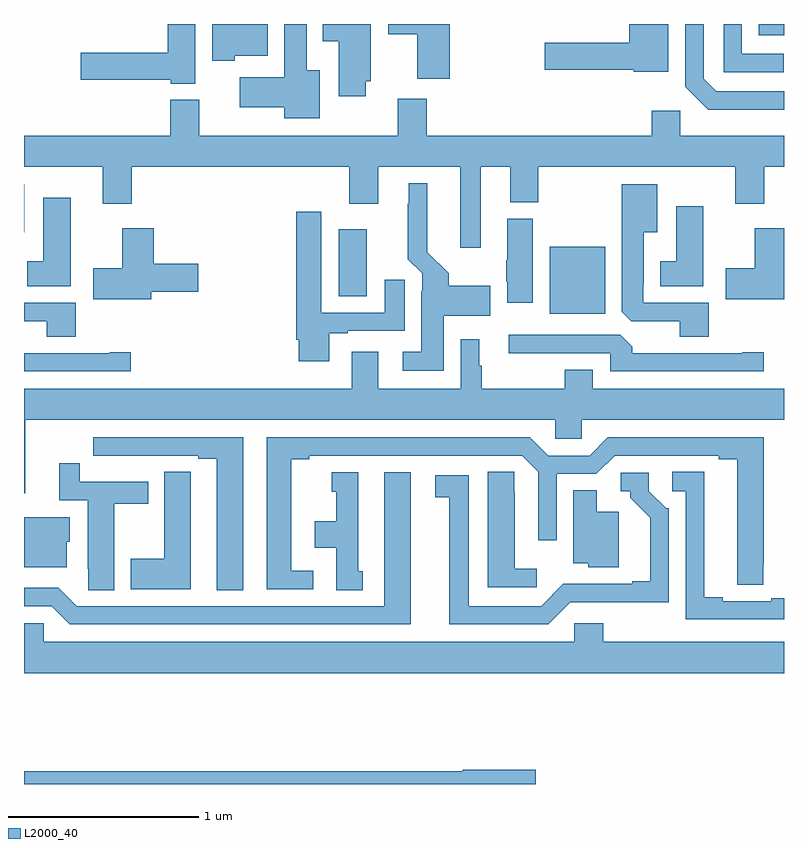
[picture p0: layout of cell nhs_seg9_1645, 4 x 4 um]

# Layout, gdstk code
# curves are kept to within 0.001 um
import gdstk
lib = gdstk.Library(unit=1e-6, precision=1e-09)
def R(c, l, rs):  # rectangles x0, y0, x1, y1
    for r in rs: c.add(gdstk.rectangle(r[:2], r[2:], *l))
def P(c, l, *ps):  # polygons
    for p in ps: c.add(gdstk.Polygon(p, *l))
L2000_40 = (2000, 40)

nhs_seg9_1645 = lib.new_cell('nhs_seg9_1645')
R(nhs_seg9_1645, L2000_40, [(205.766,1200.974,206.059,1201.327), (204.656,1201.066,204.805,1201.42), (203,1201.403,203.002,1201.657), (206.867,1202.441,207,1202.5)])
P(nhs_seg9_1645, L2000_40, [(204.556,1202.257),(204.487,1202.257),(204.487,1202.5),(204.371,1202.5),(204.371,1202.221),(204.135,1202.221),(204.135,1202.063),(204.371,1202.063),(204.371,1202.003),(204.556,1202.003)],
  [(203.902,1202.5),(203.756,1202.5),(203.756,1202.348),(203.298,1202.348),(203.298,1202.206),(203.772,1202.206),(203.772,1202.186),(203.902,1202.186)],
  [(204.108,1202.333),(204.283,1202.333),(204.283,1202.5),(203.99,1202.5),(203.99,1202.306),(204.108,1202.306)],
  [(207,1202.145),(206.643,1202.145),(206.577,1202.211),(206.577,1202.5),(206.481,1202.5),(206.481,1202.169),(206.602,1202.048),(207,1202.048)],
  [(206.998,1202.343),(206.778,1202.343),(206.778,1202.5),(206.682,1202.5),(206.682,1202.247),(206.998,1202.247)],
  [(206.392,1202.5),(206.185,1202.5),(206.185,1202.402),(205.74,1202.402),(205.74,1202.26),(206.208,1202.26),(206.208,1202.249),(206.392,1202.249)],
  [(204.799,1202.199),(204.826,1202.199),(204.826,1202.5),(204.572,1202.5),(204.572,1202.408),(204.656,1202.408),(204.656,1202.121),(204.799,1202.121)],
  [(205.24,1202.5),(204.918,1202.5),(204.918,1202.446),(205.07,1202.446),(205.07,1202.213),(205.24,1202.213)],
  [(203.923,1202.101),(203.771,1202.101),(203.771,1201.912),(203,1201.912),(203,1201.748),(203.414,1201.748),(203.414,1201.554),(203.567,1201.554),(203.567,1201.748),(204.713,1201.748),(204.713,1201.554),(204.865,1201.554),(204.865,1201.748),(205.295,1201.748),(205.295,1201.323),(205.405,1201.323),(205.405,1201.748),(205.559,1201.748),(205.559,1201.561),(205.707,1201.561),(205.707,1201.748),(206.744,1201.748),(206.744,1201.554),(206.897,1201.554),(206.897,1201.748),(207,1201.748),(207,1201.912),(206.454,1201.912),(206.454,1202.044),(206.303,1202.044),(206.303,1201.912),(205.121,1201.912),(205.121,1202.107),(204.968,1202.107),(204.968,1201.912),(203.923,1201.912)],
  [(205.21,1200.965),(205.453,1200.965),(205.453,1201.123),(205.236,1201.123),(205.236,1201.187),(205.123,1201.3),(205.123,1201.663),(205.025,1201.663),(205.025,1201.553),(205.021,1201.553),(205.021,1201.262),(205.095,1201.188),(205.095,1201.094),(205.091,1201.094),(205.091,1200.775),(204.993,1200.775),(204.993,1200.674),(205.21,1200.674)],
  [(206.603,1201.032),(206.259,1201.032),(206.259,1201.129),(206.263,1201.129),(206.263,1201.403),(206.332,1201.403),(206.332,1201.657),(206.147,1201.657),(206.147,1200.985),(206.196,1200.936),(206.45,1200.936),(206.45,1200.853),(206.603,1200.853)],
  [(203.245,1201.585),(203.102,1201.585),(203.102,1201.252),(203.018,1201.252),(203.018,1201.121),(203.245,1201.121)],
  [(206.575,1201.54),(206.432,1201.54),(206.432,1201.252),(206.348,1201.252),(206.348,1201.121),(206.575,1201.121)],
  [(204.607,1200.873),(204.703,1200.873),(204.703,1200.885),(205.003,1200.885),(205.003,1201.153),(204.899,1201.153),(204.899,1200.981),(204.565,1200.981),(204.565,1201.513),(204.434,1201.513),(204.434,1200.838),(204.446,1200.838),(204.446,1200.726),(204.607,1200.726)],
  [(205.678,1201.476),(205.544,1201.476),(205.544,1201.257),(205.537,1201.257),(205.537,1201.144),(205.544,1201.144),(205.544,1201.032),(205.678,1201.032)],
  [(203.671,1201.091),(203.917,1201.091),(203.917,1201.238),(203.684,1201.238),(203.684,1201.426),(203.516,1201.426),(203.516,1201.215),(203.364,1201.215),(203.364,1201.052),(203.671,1201.052)],
  [(207,1201.426),(206.846,1201.426),(206.846,1201.215),(206.694,1201.215),(206.694,1201.052),(207,1201.052)],
  [(203.273,1201.032),(203,1201.032),(203,1200.936),(203.12,1200.936),(203.12,1200.853),(203.273,1200.853)],
  [(206.893,1200.773),(206.78,1200.773),(206.78,1200.768),(206.201,1200.768),(206.201,1200.802),(206.139,1200.864),(205.551,1200.864),(205.551,1200.768),(206.085,1200.768),(206.085,1200.672),(206.893,1200.672)],
  [(203.006,1200.416),(205.797,1200.416),(205.797,1200.318),(205.935,1200.318),(205.935,1200.416),(207,1200.416),(207,1200.58),(205.993,1200.58),(205.993,1200.679),(205.846,1200.679),(205.846,1200.58),(205.408,1200.58),(205.408,1200.702),(205.396,1200.702),(205.396,1200.841),(205.299,1200.841),(205.299,1200.58),(204.865,1200.58),(204.865,1200.775),(204.725,1200.775),(204.725,1200.58),(203,1200.58),(203,1200.03),(203.006,1200.03)],
  [(203.563,1200.773),(203.45,1200.773),(203.45,1200.768),(203,1200.768),(203,1200.672),(203.563,1200.672)],
  [(204.154,1200.324),(203.364,1200.324),(203.364,1200.228),(203.476,1200.228),(203.476,1200.227),(203.642,1200.227),(203.642,1200.228),(203.918,1200.228),(203.918,1200.213),(204.014,1200.213),(204.014,1199.521),(204.154,1199.521)],
  [(204.523,1199.622),(204.406,1199.622),(204.406,1200.208),(204.502,1200.208),(204.502,1200.228),(205.623,1200.228),(205.707,1200.144),(205.707,1199.784),(205.803,1199.784),(205.803,1200.132),(206.013,1200.132),(206.109,1200.228),(206.657,1200.228),(206.657,1200.208),(206.753,1200.208),(206.753,1199.548),(206.892,1199.548),(206.893,1200.324),(206.073,1200.324),(205.977,1200.228),(205.759,1200.228),(205.663,1200.324),(204.278,1200.324),(204.278,1199.526),(204.523,1199.526)],
  [(203.476,1199.974),(203.653,1199.974),(203.653,1200.09),(203.294,1200.09),(203.294,1200.187),(203.186,1200.187),(203.186,1199.994),(203.336,1199.994),(203.336,1199.632),(203.337,1199.632),(203.337,1199.521),(203.476,1199.521)],
  [(205.699,1199.632),(205.582,1199.632),(205.582,1200.035),(205.581,1200.035),(205.581,1200.143),(205.442,1200.143),(205.442,1199.535),(205.699,1199.535)],
  [(203.878,1200.035),(203.877,1200.035),(203.877,1200.143),(203.738,1200.143),(203.738,1199.685),(203.561,1199.685),(203.561,1199.525),(203.878,1199.525)],
  [(207,1199.478),(206.933,1199.478),(206.933,1199.463),(206.677,1199.463),(206.677,1199.483),(206.581,1199.483),(206.581,1200.143),(206.412,1200.143),(206.412,1200.042),(206.484,1200.042),(206.484,1199.367),(207,1199.367)],
  [(205.036,1200.142),(204.896,1200.142),(204.896,1199.436),(203.277,1199.436),(203.181,1199.532),(203,1199.532),(203,1199.436),(203.145,1199.436),(203.241,1199.34),(205.036,1199.34)],
  [(204.784,1199.619),(204.76,1199.619),(204.76,1200.142),(204.62,1200.142),(204.62,1200.039),(204.644,1200.039),(204.644,1199.884),(204.53,1199.884),(204.53,1199.744),(204.644,1199.744),(204.644,1199.521),(204.784,1199.521)],
  [(205.875,1199.457),(206.394,1199.456),(206.394,1199.952),(206.379,1199.952),(206.289,1200.042),(206.289,1200.138),(206.142,1200.138),(206.142,1200.042),(206.192,1200.042),(206.192,1200.007),(206.297,1199.902),(206.297,1199.566),(206.201,1199.566),(206.201,1199.553),(205.839,1199.553),(205.722,1199.436),(205.342,1199.436),(205.342,1200.126),(205.164,1200.126),(205.164,1200.01),(205.238,1200.01),(205.238,1199.34),(205.758,1199.34)],
  [(206.131,1199.932),(206.014,1199.932),(206.014,1200.047),(205.892,1200.047),(205.892,1199.663),(205.971,1199.663),(205.971,1199.642),(206.131,1199.642)],
  [(203.224,1199.775),(203.242,1199.775),(203.242,1199.905),(203,1199.905),(203,1199.642),(203.224,1199.642)],
  [(207,1199.248),(206.048,1199.248),(206.048,1199.346),(205.896,1199.346),(205.896,1199.248),(203.103,1199.248),(203.103,1199.346),(203,1199.346),(203,1199.084),(207,1199.084)],
  [(205.693,1198.574),(205.308,1198.574),(205.308,1198.568),(203,1198.568),(203,1198.5),(205.693,1198.5)])

lib.write_gds('nhs_seg9_1645.gds')
